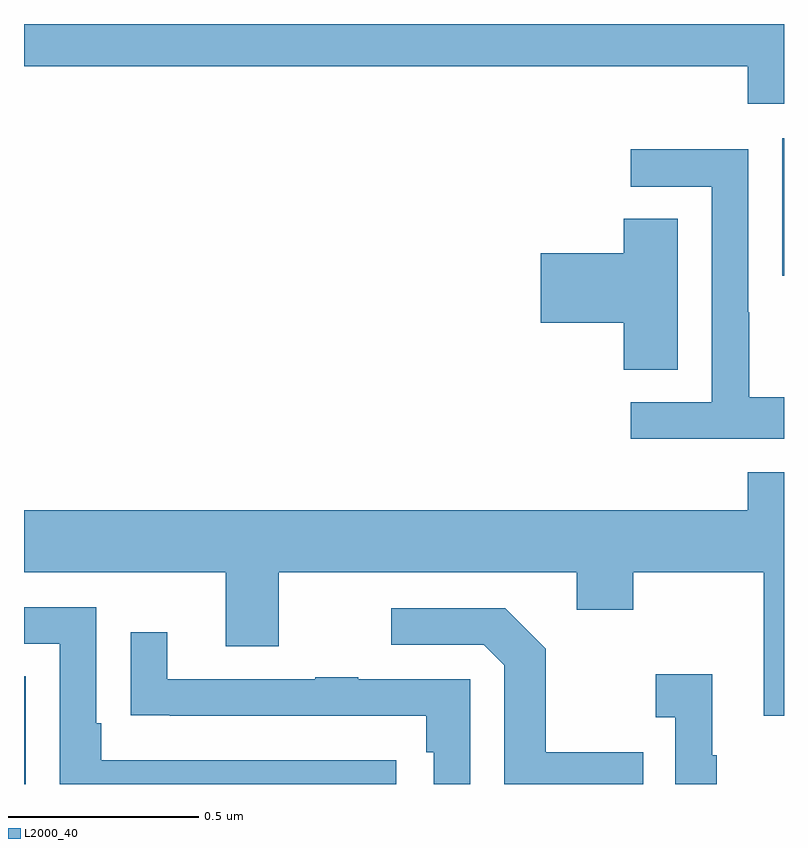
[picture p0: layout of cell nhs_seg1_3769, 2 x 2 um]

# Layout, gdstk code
import gdstk
lib = gdstk.Library(unit=1e-6, precision=1e-09)
def R(c, l, rs):  # rectangles x0, y0, x1, y1
    for r in rs: c.add(gdstk.rectangle(r[:2], r[2:], *l))
def P(c, l, *ps):  # polygons
    for p in ps: c.add(gdstk.Polygon(p, *l))
L2000_40 = (2000, 40)

nhs_seg1_3769 = lib.new_cell('nhs_seg1_3769')
R(nhs_seg1_3769, L2000_40, [(158,527.199,158.004,527.483), (159.995,528.537,160,528.898)])
P(nhs_seg1_3769, L2000_40, [(160,529.199),(158,529.199),(158,529.088),(159.905,529.088),(159.905,528.989),(160,528.989)],
  [(160,528.217),(159.909,528.217),(159.909,528.44),(159.906,528.44),(159.906,528.87),(159.597,528.87),(159.597,528.771),(159.81,528.771),(159.81,528.204),(159.597,528.204),(159.597,528.108),(160,528.108)],
  [(159.721,528.686),(159.578,528.686),(159.578,528.596),(159.36,528.596),(159.36,528.413),(159.578,528.413),(159.578,528.289),(159.721,528.289)],
  [(160,528.019),(159.905,528.019),(159.905,527.92),(158,527.92),(158,527.756),(158.531,527.756),(158.531,527.562),(158.671,527.562),(158.671,527.756),(159.455,527.756),(159.455,527.657),(159.603,527.657),(159.603,527.756),(159.947,527.756),(159.947,527.379),(160,527.379)],
  [(158.98,527.262),(158.203,527.262),(158.203,527.359),(158.19,527.359),(158.19,527.664),(158,527.664),(158,527.568),(158.094,527.568),(158.094,527.199),(158.98,527.199)],
  [(159.629,527.283),(159.373,527.283),(159.373,527.555),(159.267,527.661),(158.967,527.661),(158.967,527.565),(159.21,527.565),(159.264,527.511),(159.264,527.199),(159.629,527.199)],
  [(159.174,527.475),(158.879,527.475),(158.879,527.48),(158.767,527.48),(158.767,527.475),(158.377,527.475),(158.377,527.599),(158.281,527.599),(158.281,527.38),(158.383,527.38),(158.383,527.379),(159.058,527.379),(159.058,527.282),(159.078,527.282),(159.078,527.199),(159.174,527.199)],
  [(159.823,527.275),(159.811,527.275),(159.811,527.488),(159.663,527.488),(159.663,527.375),(159.714,527.375),(159.714,527.199),(159.823,527.199)])

lib.write_gds('nhs_seg1_3769.gds')
